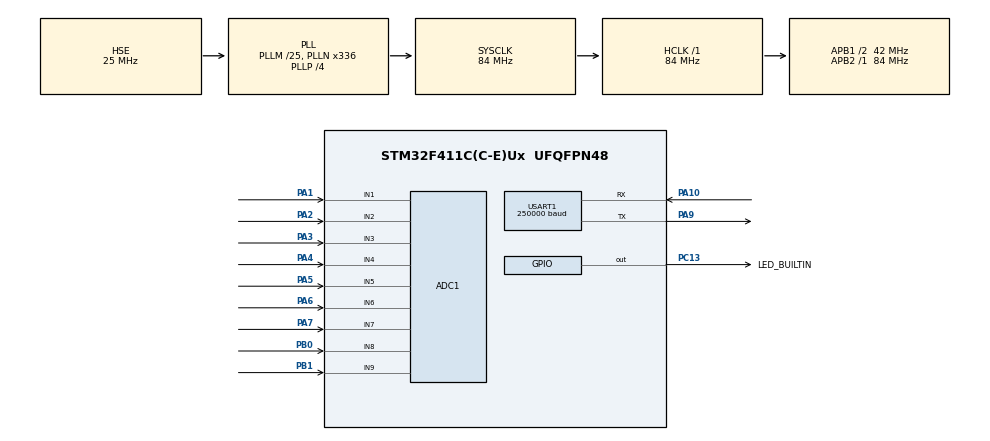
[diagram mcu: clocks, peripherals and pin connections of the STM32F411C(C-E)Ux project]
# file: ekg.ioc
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ADC1.Channel-10\#ChannelRegularConversion=ADC_CHANNEL_2
ADC1.Channel-3\#ChannelRegularConversion=ADC_CHANNEL_9
ADC1.Channel-4\#ChannelRegularConversion=ADC_CHANNEL_8
ADC1.Channel-5\#ChannelRegularConversion=ADC_CHANNEL_7
ADC1.Channel-6\#ChannelRegularConversion=ADC_CHANNEL_6
ADC1.Channel-7\#ChannelRegularConversion=ADC_CHANNEL_5
ADC1.Channel-8\#ChannelRegularConversion=ADC_CHANNEL_4
ADC1.Channel-9\#ChannelRegularConversion=ADC_CHANNEL_3
ADC1.DMAContinuousRequests=ENABLE
ADC1.ExternalTrigConv=ADC_EXTERNALTRIGCONV_T2_TRGO
ADC1.NbrOfConversion=8
ADC1.NbrOfConversionFlag=1
ADC1.Rank-10\#ChannelRegularConversion=8
ADC1.Rank-3\#ChannelRegularConversion=1
ADC1.Rank-4\#ChannelRegularConversion=2
ADC1.Rank-5\#ChannelRegularConversion=3
ADC1.Rank-6\#ChannelRegularConversion=4
ADC1.Rank-7\#ChannelRegularConversion=5
ADC1.Rank-8\#ChannelRegularConversion=6
ADC1.Rank-9\#ChannelRegularConversion=7
ADC1.SamplingTime-10\#ChannelRegularConversion=ADC_SAMPLETIME_144CYCLES
ADC1.SamplingTime-3\#ChannelRegularConversion=ADC_SAMPLETIME_144CYCLES
ADC1.SamplingTime-4\#ChannelRegularConversion=ADC_SAMPLETIME_144CYCLES
ADC1.SamplingTime-5\#ChannelRegularConversion=ADC_SAMPLETIME_144CYCLES
ADC1.SamplingTime-6\#ChannelRegularConversion=ADC_SAMPLETIME_144CYCLES
ADC1.SamplingTime-7\#ChannelRegularConversion=ADC_SAMPLETIME_144CYCLES
ADC1.SamplingTime-8\#ChannelRegularConversion=ADC_SAMPLETIME_144CYCLES
ADC1.SamplingTime-9\#ChannelRegularConversion=ADC_SAMPLETIME_144CYCLES
ADC1.master=1
Dma.ADC1.0.Direction=DMA_PERIPH_TO_MEMORY
Dma.ADC1.0.FIFOMode=DMA_FIFOMODE_DISABLE
Dma.ADC1.0.Instance=DMA2_Stream0
Dma.ADC1.0.MemDataAlignment=DMA_MDATAALIGN_HALFWORD
Dma.ADC1.0.MemInc=DMA_MINC_ENABLE
Dma.ADC1.0.Mode=DMA_CIRCULAR
Dma.ADC1.0.PeriphDataAlignment=DMA_PDATAALIGN_HALFWORD
Dma.ADC1.0.PeriphInc=DMA_PINC_DISABLE
Dma.ADC1.0.Priority=DMA_PRIORITY_HIGH
Dma.Request0=ADC1
Mcu.Family=STM32F4
Mcu.Name=STM32F411C(C-E)Ux
Mcu.Package=UFQFPN48
NVIC.DMA2_Stream0_IRQn=true\:0\:0\:false\:false\:true\:false\:true\:true
NVIC.PriorityGroup=NVIC_PRIORITYGROUP_4
PA1.Signal=ADCx_IN1
PA10.Mode=Asynchronous
PA10.Signal=USART1_RX
PA2.Signal=ADCx_IN2
PA3.Signal=ADCx_IN3
PA4.Signal=ADCx_IN4
PA5.Signal=ADCx_IN5
PA6.Signal=ADCx_IN6
PA7.Signal=ADCx_IN7
PA9.Mode=Asynchronous
PA9.Signal=USART1_TX
PB0.Signal=SharedAnalog_PB0
PB1.Signal=SharedAnalog_PB1
PC13-ANTI_TAMP.GPIO_Label=LED_BUILTIN
PC13-ANTI_TAMP.Signal=GPIO_Output
PH0\ -\ OSC_IN.Mode=HSE-External-Oscillator
PH0\ -\ OSC_IN.Signal=RCC_OSC_IN
PH1\ -\ OSC_OUT.Mode=HSE-External-Oscillator
PH1\ -\ OSC_OUT.Signal=RCC_OSC_OUT
ProjectManager.HeapSize=0x200
ProjectManager.StackSize=0x400
ProjectManager.TargetToolchain=STM32CubeIDE
RCC.48MHZClocksFreq_Value=84000000
RCC.AHBFreq_Value=84000000
RCC.APB1CLKDivider=RCC_HCLK_DIV2
RCC.APB1Freq_Value=42000000
RCC.APB1TimFreq_Value=84000000
RCC.APB2Freq_Value=84000000
RCC.APB2TimFreq_Value=84000000
RCC.CortexFreq_Value=84000000
RCC.HCLKFreq_Value=84000000
RCC.HSE_VALUE=25000000
RCC.HSI_VALUE=16000000
RCC.LSE_VALUE=32768
RCC.PLLM=25
RCC.PLLN=336
RCC.PLLP=RCC_PLLP_DIV4
RCC.PLLSourceVirtual=RCC_PLLSOURCE_HSE
RCC.SYSCLKFreq_VALUE=84000000
RCC.SYSCLKSource=RCC_SYSCLKSOURCE_PLLCLK
RCC.VCOOutputFreq_Value=336000000
SH.ADCx_IN1.0=ADC1_IN1,IN1
SH.ADCx_IN2.0=ADC1_IN2,IN2
SH.ADCx_IN3.0=ADC1_IN3,IN3
SH.ADCx_IN4.0=ADC1_IN4,IN4
SH.ADCx_IN5.0=ADC1_IN5,IN5
SH.ADCx_IN6.0=ADC1_IN6,IN6
SH.ADCx_IN7.0=ADC1_IN7,IN7
SH.SharedAnalog_PB0.0=GPIO_Analog
SH.SharedAnalog_PB0.1=ADC1_IN8,IN8
SH.SharedAnalog_PB1.0=GPIO_Analog
SH.SharedAnalog_PB1.1=ADC1_IN9,IN9
TIM2.Period=18
TIM2.Prescaler=8399
TIM2.TIM_MasterOutputTrigger=TIM_TRGO_UPDATE
USART1.BaudRate=250000
USART1.Mode=MODE_TX
USART1.VirtualMode=VM_ASYNC
VP_TIM2_VS_ClockSourceINT.Mode=Internal
board=custom

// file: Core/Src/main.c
/* USER CODE BEGIN Header */
/**
  ******************************************************************************
  * @file           : main.c
  * @brief          : Main program body
  ******************************************************************************
  * @attention
  *
  * Copyright (c) 2025 STMicroelectronics.
  * All rights reserved.
  *
  * This software is licensed under terms that can be found in the LICENSE file
  * in the root directory of this software component.
  * If no LICENSE file comes with this software, it is provided AS-IS.
  *
  ******************************************************************************
  */
/* USER CODE END Header */
#include "main.h"
#include "adc.h"
#include "dma.h"
#include "tim.h"
#include "usart.h"
#include "gpio.h"

/* USER CODE BEGIN Includes */
#include <stdio.h>
#include <string.h>
#include <stdbool.h>

/* USER CODE END Includes */

/* USER CODE BEGIN PV */
#define BLOCK_SAMPLES 128
#define NUM_CHANNELS   9
#define ADC_BUF_LEN   (BLOCK_SAMPLES * NUM_CHANNELS)

static volatile uint16_t adc_buf[ADC_BUF_LEN];
static volatile uint8_t dma_half_ready = 0;
static volatile uint8_t dma_full_ready = 0;
static uint32_t sample_idx = 0; // +1 per sample-pair (2 ms)

// Debug SPS variables
volatile uint32_t target_sps = 400; // configurable target sampling rate (sample-pair per second)
static volatile uint32_t sps_counter = 0; // counts sent sample-pairs in the last 1s window
static uint32_t sps_last_ms = 0;          // timestamp of last SPS report

// Debug toggle
volatile bool debug_enabled = true; // set true to enable periodic debug info

/* USER CODE END PV */

void SystemClock_Config(void);

int main(void)
{

  /* MCU Configuration--------------------------------------------------------*/

  /* Reset of all peripherals, Initializes the Flash interface and the Systick. */
  HAL_Init();

  /* Configure the system clock */
  SystemClock_Config();

  /* Initialize all configured peripherals */
  MX_GPIO_Init();
  MX_DMA_Init();
  MX_USART1_UART_Init();
  MX_ADC1_Init();
  MX_TIM2_Init();
  /* USER CODE BEGIN 2 */
  HAL_ADC_Start_DMA(&hadc1, (uint32_t*)adc_buf, ADC_BUF_LEN);
  HAL_TIM_Base_Start(&htim2);

  // Initialize SPS timing window
  sps_last_ms = HAL_GetTick();

  /* USER CODE END 2 */

  /* Infinite loop */
  while (1)
  {

    /* USER CODE BEGIN 3 */
    char line[64];

if (dma_half_ready) {
  dma_half_ready = 0;
  for (uint32_t i = 0; i < ADC_BUF_LEN/2; i += NUM_CHANNELS) {
    uint16_t v_pb1 = adc_buf[i + 0];
    uint16_t v_pb0 = adc_buf[i + 1];
    uint16_t v_a7  = adc_buf[i + 2];
    uint16_t v_a6  = adc_buf[i + 3];
    uint16_t v_a5  = adc_buf[i + 4];
    uint16_t v_a4  = adc_buf[i + 5];
    uint16_t v_a3  = adc_buf[i + 6];
    uint16_t v_a2  = adc_buf[i + 7];
    uint16_t v_a1  = adc_buf[i + 8];
    uint32_t t_ms = sample_idx * 2U;
    sample_idx++;
    int n = snprintf(line, sizeof(line),
                     "%06lX,%03X,%03X,%03X,%03X,%03X,%03X,%03X,%03X,%03X;",
                     (unsigned long)t_ms,
                     (unsigned int)v_pb1, (unsigned int)v_pb0,
                     (unsigned int)v_a7,  (unsigned int)v_a6,
                     (unsigned int)v_a5,  (unsigned int)v_a4,
                     (unsigned int)v_a3,  (unsigned int)v_a2,
                     (unsigned int)v_a1);
    if (n > 0) HAL_UART_Transmit(&huart1, (uint8_t*)line, (uint16_t)n, 100);
    sps_counter++;
  }
}

if (dma_full_ready) {
  dma_full_ready = 0;
  for (uint32_t i = ADC_BUF_LEN/2; i < ADC_BUF_LEN; i += NUM_CHANNELS) {
    uint16_t v_pb1 = adc_buf[i + 0];
    uint16_t v_pb0 = adc_buf[i + 1];
    uint16_t v_a7  = adc_buf[i + 2];
    uint16_t v_a6  = adc_buf[i + 3];
    uint16_t v_a5  = adc_buf[i + 4];
    uint16_t v_a4  = adc_buf[i + 5];
    uint16_t v_a3  = adc_buf[i + 6];
    uint16_t v_a2  = adc_buf[i + 7];
    uint16_t v_a1  = adc_buf[i + 8];
    uint32_t t_ms = sample_idx * 2U;
    sample_idx++;
    int n = snprintf(line, sizeof(line),
                     "%06lX,%03X,%03X,%03X,%03X,%03X,%03X,%03X,%03X,%03X;",
                     (unsigned long)t_ms,
                     (unsigned int)v_pb1, (unsigned int)v_pb0,
                     (unsigned int)v_a7,  (unsigned int)v_a6,
                     (unsigned int)v_a5,  (unsigned int)v_a4,
                     (unsigned int)v_a3,  (unsigned int)v_a2,
                     (unsigned int)v_a1);
    if (n > 0) HAL_UART_Transmit(&huart1, (uint8_t*)line, (uint16_t)n, 100);
    sps_counter++;
  }

  HAL_GPIO_TogglePin(LED_BUILTIN_GPIO_Port, LED_BUILTIN_Pin);
}

// Periodic SPS debug report every 1 second
uint32_t now = HAL_GetTick();
if ((now - sps_last_ms) >= 1000U) {
  uint32_t sps = sps_counter;
  sps_counter = 0;
  sps_last_ms += 1000U;

  if (debug_enabled) {
    uint32_t eff = (target_sps > 0U) ? (sps * 100U) / target_sps : 0U;
    int n = snprintf(line, sizeof(line),
                     "\n# debug_info -> sps: %lu, target: %lu, efficiency: %lu%%\n",
                     sps, target_sps, eff);
    if (n > 0) {
      HAL_UART_Transmit(&huart1, (uint8_t*)line, (uint16_t)n, 100);
    }
  }
}
  }
  /* USER CODE END 3 */
}

void SystemClock_Config(void)
{
  RCC_OscInitTypeDef RCC_OscInitStruct = {0};
  RCC_ClkInitTypeDef RCC_ClkInitStruct = {0};

  /** Configure the main internal regulator output voltage
  */
  __HAL_RCC_PWR_CLK_ENABLE();
  __HAL_PWR_VOLTAGESCALING_CONFIG(PWR_REGULATOR_VOLTAGE_SCALE1);

  /** Initializes the RCC Oscillators according to the specified parameters
  * in the RCC_OscInitTypeDef structure.
  */
  RCC_OscInitStruct.OscillatorType = RCC_OSCILLATORTYPE_HSE;
  RCC_OscInitStruct.HSEState = RCC_HSE_ON;
  RCC_OscInitStruct.PLL.PLLState = RCC_PLL_ON;
  RCC_OscInitStruct.PLL.PLLSource = RCC_PLLSOURCE_HSE;
  RCC_OscInitStruct.PLL.PLLM = 25;
  RCC_OscInitStruct.PLL.PLLN = 336;
  RCC_OscInitStruct.PLL.PLLP = RCC_PLLP_DIV4;
  RCC_OscInitStruct.PLL.PLLQ = 4;
  if (HAL_RCC_OscConfig(&RCC_OscInitStruct) != HAL_OK)
  {
    Error_Handler();
  }

  /** Initializes the CPU, AHB and APB buses clocks
  */
  RCC_ClkInitStruct.ClockType = RCC_CLOCKTYPE_HCLK|RCC_CLOCKTYPE_SYSCLK
                              |RCC_CLOCKTYPE_PCLK1|RCC_CLOCKTYPE_PCLK2;
  RCC_ClkInitStruct.SYSCLKSource = RCC_SYSCLKSOURCE_PLLCLK;
  RCC_ClkInitStruct.AHBCLKDivider = RCC_SYSCLK_DIV1;
  RCC_ClkInitStruct.APB1CLKDivider = RCC_HCLK_DIV2;
  RCC_ClkInitStruct.APB2CLKDivider = RCC_HCLK_DIV1;

  if (HAL_RCC_ClockConfig(&RCC_ClkInitStruct, FLASH_LATENCY_2) != HAL_OK)
  {
    Error_Handler();
  }
}

/* USER CODE BEGIN 4 */
void HAL_ADC_ConvHalfCpltCallback(ADC_HandleTypeDef* hadc) {
  if (hadc->Instance == ADC1) dma_half_ready = 1;
}
void HAL_ADC_ConvCpltCallback(ADC_HandleTypeDef* hadc) {
  if (hadc->Instance == ADC1) dma_full_ready = 1;
}

/* USER CODE END 4 */

void Error_Handler(void)
{
  __disable_irq();
  while (1)
  {
  }
}
